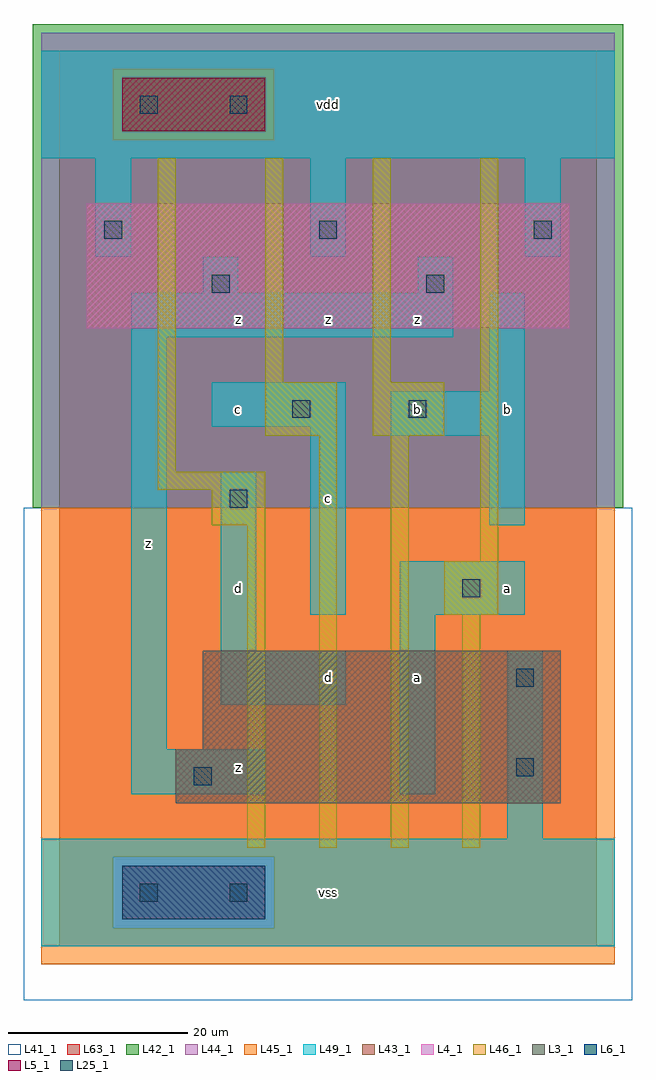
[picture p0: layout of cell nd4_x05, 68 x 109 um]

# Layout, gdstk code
import gdstk
lib = gdstk.Library(unit=1e-6, precision=1e-09)
def R(c, l, rs):  # rectangles x0, y0, x1, y1
    for r in rs: c.add(gdstk.rectangle(r[:2], r[2:], *l))
def A(c, l, x, y, w, h, nx, ny, dx, dy):  # array of equal rectangles
    R(c, l, [(x+i*dx, y+j*dy, x+i*dx+w, y+j*dy+h) for i in range(nx) for j in range(ny)])
L3_1 = (3, 1)
L4_1 = (4, 1)
L5_1 = (5, 1)
L6_1 = (6, 1)
L25_1 = (25, 1)
L41_1 = (41, 1)
L42_1 = (42, 1)
L43_1 = (43, 1)
L44_1 = (44, 1)
L45_1 = (45, 1)
L46_1 = (46, 1)
L49_1 = (49, 1)
L63_1 = (63, 1)

nd4_x05 = lib.new_cell('nd4_x05')
R(nd4_x05, L3_1, [(13,16,56,22), (16,22,56,33)])
R(nd4_x05, L4_1, [(3,69,57,83)])
R(nd4_x05, L5_1, [(7,91,23,97)])
R(nd4_x05, L6_1, [(7,3,23,9)])
A(nd4_x05, L25_1, 19, 5, 2, 2, 1, 3, 0, 44)
A(nd4_x05, L25_1, 5, 79, 2, 2, 3, 1, 24, 0)
R(nd4_x05, L25_1, [(9,5,11,7), (15,18,17,20), (51,19,53,21), (51,29,53,31), (45,39,47,41), (26,59,28,61), (39,59,41,61), (17,73,19,75), (41,73,43,75), (9,93,11,95)])
R(nd4_x05, L41_1, [(-4,-6,64,49), (-3,-3,63,49)])
R(nd4_x05, L42_1, [(-3,49,63,103)])
R(nd4_x05, L43_1, [(7,3,23,9), (13,16,56,22), (16,22,56,33), (3,69,57,83), (7,91,23,97)])
R(nd4_x05, L44_1, [(6,2,24,10), (-2,49,62,90), (-2,90,6,98), (24,90,62,98), (-2,98,62,102)])
R(nd4_x05, L45_1, [(-2,-2,62,2), (-2,2,6,10), (24,2,62,10), (-2,10,62,49), (6,90,24,98)])
R(nd4_x05, L46_1, [(21,11,23,47), (29,11,31,57), (37,11,39,57), (45,11,47,37), (43,37,49,43), (47,43,49,88), (17,47,23,51), (11,51,23,53), (11,53,13,88), (23,57,31,63), (35,57,43,63), (23,63,25,88), (35,63,37,88)])
A(nd4_x05, L49_1, 4, 77, 4, 11, 3, 1, 24, 0)
R(nd4_x05, L49_1, [(-2,0,62,12), (50,12,54,33), (8,17,23,22), (38,17,42,37), (8,22,12,68), (18,27,32,33), (18,33,22,53), (28,37,32,58), (38,37,52,43), (48,47,52,57), (37,57,52,62), (17,58,32,63), (48,62,52,73), (8,68,44,73), (16,73,20,77), (40,73,44,77), (-2,88,62,100)])
R(nd4_x05, L63_1, [(0,0,60,100)])
nd4_x05.add(gdstk.Label('z', (20,20), layer=49, texttype=1))
nd4_x05.add(gdstk.Label('z', (20,20), layer=49, texttype=1))
nd4_x05.add(gdstk.Label('d', (20,40), layer=49, texttype=1))
nd4_x05.add(gdstk.Label('d', (20,40), layer=49, texttype=1))
nd4_x05.add(gdstk.Label('z', (10,45), layer=49, texttype=1))
nd4_x05.add(gdstk.Label('z', (10,45), layer=49, texttype=1))
nd4_x05.add(gdstk.Label('c', (20,60), layer=49, texttype=1))
nd4_x05.add(gdstk.Label('c', (20,60), layer=49, texttype=1))
nd4_x05.add(gdstk.Label('z', (20,70), layer=49, texttype=1))
nd4_x05.add(gdstk.Label('z', (20,70), layer=49, texttype=1))
nd4_x05.add(gdstk.Label('vss', (30,6), layer=49, texttype=1))
nd4_x05.add(gdstk.Label('vss', (30,6), layer=49, texttype=1))
nd4_x05.add(gdstk.Label('d', (30,30), layer=49, texttype=1))
nd4_x05.add(gdstk.Label('d', (30,30), layer=49, texttype=1))
nd4_x05.add(gdstk.Label('c', (30,50), layer=49, texttype=1))
nd4_x05.add(gdstk.Label('c', (30,50), layer=49, texttype=1))
nd4_x05.add(gdstk.Label('z', (30,70), layer=49, texttype=1))
nd4_x05.add(gdstk.Label('z', (30,70), layer=49, texttype=1))
nd4_x05.add(gdstk.Label('vdd', (30,94), layer=49, texttype=1))
nd4_x05.add(gdstk.Label('vdd', (30,94), layer=49, texttype=1))
nd4_x05.add(gdstk.Label('a', (40,30), layer=49, texttype=1))
nd4_x05.add(gdstk.Label('a', (40,30), layer=49, texttype=1))
nd4_x05.add(gdstk.Label('b', (40,60), layer=49, texttype=1))
nd4_x05.add(gdstk.Label('b', (40,60), layer=49, texttype=1))
nd4_x05.add(gdstk.Label('z', (40,70), layer=49, texttype=1))
nd4_x05.add(gdstk.Label('z', (40,70), layer=49, texttype=1))
nd4_x05.add(gdstk.Label('a', (50,40), layer=49, texttype=1))
nd4_x05.add(gdstk.Label('a', (50,40), layer=49, texttype=1))
nd4_x05.add(gdstk.Label('b', (50,60), layer=49, texttype=1))
nd4_x05.add(gdstk.Label('b', (50,60), layer=49, texttype=1))

lib.write_gds('nd4_x05.gds')
